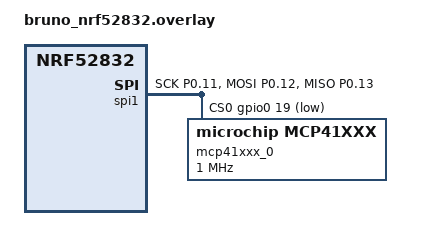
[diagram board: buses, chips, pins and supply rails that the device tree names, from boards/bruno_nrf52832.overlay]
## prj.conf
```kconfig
CONFIG_LOG=y
CONFIG_SPI=y
CONFIG_GPIO=y

# Remover isto — NÃO existe na NCS 3.2.1
# CONFIG_NFCT_GPIO_MODE=y
```

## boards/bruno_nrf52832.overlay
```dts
/*
 * Disable unused peripherals
 */
&i2c0 { status = "disabled"; };
&i2c1 { status = "disabled"; };
&spi0 { status = "disabled"; };
&adc  { status = "disabled"; };

/*
 * SPI1 configuration (SPIM1)
 */
&spi1 {
	compatible = "nordic,nrf-spim";
    status = "okay";

    /* Chip select do display */
    cs-gpios = <&gpio0 19 GPIO_ACTIVE_LOW>;

    /* Pin control já definido no seu board */
    pinctrl-0 = <&spi1_default>;
    pinctrl-1 = <&spi1_sleep>;
    pinctrl-names = "default", "sleep";

	mcp41xxx_0: mcp41xxx@0 {
		compatible = "microchip,mcp41xxx";
		reg = <0>;
		spi-max-frequency = <1000000>;
		resistance = <10>;
	};
};

/*
 * PINCTRL for SPI1
 */
&pinctrl {
	spi1_default: spi1_default {
		group1 {
			psels = <NRF_PSEL(SPIM_SCK,  0, 11)>,
					<NRF_PSEL(SPIM_MOSI, 0, 12)>,
					<NRF_PSEL(SPIM_MISO, 0, 13)>;
		};
	};

	spi1_sleep: spi1_sleep {
		group1 {
			psels = <NRF_PSEL(SPIM_SCK,  0, 11)>,
					<NRF_PSEL(SPIM_MOSI, 0, 12)>,
					<NRF_PSEL(SPIM_MISO, 0, 13)>;
			low-power-enable;
		};
	};
};
```

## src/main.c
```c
/*
 * Copyright (c) 2025 Bruno Rodriguez Tondin <btondin@gmail.com>
 *
 * SPDX-License-Identifier: LicenseRef-Nordic-5-Clause
 */

#include <zephyr/kernel.h>
#include <zephyr/device.h>
#include <zephyr/devicetree.h>
#include <zephyr/drivers/gpio.h>
#include <zephyr/logging/log.h>

/* 1. Include the custom API for our new driver */
#include "mcp41xxx/mcp41xxx.h"

/* 2. Register the log module */
LOG_MODULE_REGISTER(MCP41XXX_Test, LOG_LEVEL_DBG);

/* 3. Get the potentiometer device (from 'mcp41xxx_0:' in the overlay) */
static const struct device *pot_dev = DEVICE_DT_GET(DT_NODELABEL(mcp41xxx_0));

/* 4. Define the devicetree node (to read properties) */
#define POT_NODE DT_NODELABEL(mcp41xxx_0)

/* 5. Get the LED for feedback */
const struct gpio_dt_spec ledspec = GPIO_DT_SPEC_GET(DT_NODELABEL(led0), gpios);


int main(void)
{
	int err; /* Variable to store error codes */
	
	LOG_INF("MCP41XXX Application started. Checking devices...");

	/* 6. Check if the potentiometer device is ready */
	if (!device_is_ready(pot_dev)) {
		LOG_ERR("Potentiometer device %s is not ready", pot_dev->name);
		return 0;
	}

	/* 7. Check if the LED is ready */
	if (!gpio_is_ready_dt(&ledspec)) {
		LOG_ERR("Error: LED GPIO device is not ready");
		return 0;
	}

	gpio_pin_configure_dt(&ledspec, GPIO_OUTPUT_ACTIVE);
	LOG_INF("Setup complete. Starting resistance test...");

    /*
     * 8. Dynamically define the resistance steps
     * based on the 'resistance:' value (in kOhms) from the overlay.
     */
    
    /* 8.a: Read the total resistance (in kOhms) from the overlay */
    const uint32_t total_res_kohm = DT_PROP(POT_NODE, resistance);
    /* 8.b: Convert to Ohms */
    const uint32_t total_res_ohms = total_res_kohm * 1000;

    LOG_INF("Potentiometer detected: %u kOhms", total_res_kohm);

    /* 8.c: Define 5 proportional steps (0%, 25%, 50%, 75%, 100%) */
	uint32_t resistance_steps[] = {
        0,
        (total_res_ohms * 1) / 4, /* 25% */
        (total_res_ohms * 2) / 4, /* 50% */
        (total_res_ohms * 3) / 4, /* 75% */
        total_res_ohms            /* 100% */
    };
	int num_steps = ARRAY_SIZE(resistance_steps);
	int i = 0;

	/* VCC for voltage divider calculation (in millivolts) */
	const uint32_t vcc_mv = 3300;

	/* Main application loop */
	while (1) {

		uint32_t ohms = resistance_steps[i];

		/* Calculate voltage divider output: Vout = VCC * (R / Rtotal) */
		uint32_t voltage_mv = (vcc_mv * ohms) / total_res_ohms;

		LOG_INF("Setting resistance to: %u Ohms (%u.%02u Volts)",
			ohms, voltage_mv / 1000, (voltage_mv % 1000) / 10);
		
		/* 9. Call the new high-level API */
		err = mcp41xxx_set_resistance(pot_dev, ohms);
		if (err) {
			LOG_ERR("Failed to set resistance, error: %d", err);
		}

		/* 10. Toggle the LED on each change (as requested) */
		gpio_pin_toggle_dt(&ledspec);

		/* Move to the next step */
		i++;
		if (i >= num_steps) {
			i = 0;
			LOG_INF("Test cycle complete.");
		}

		k_sleep(K_MSEC(2000)); /* Wait 5 seconds */
	}
	return 0;
}
```
